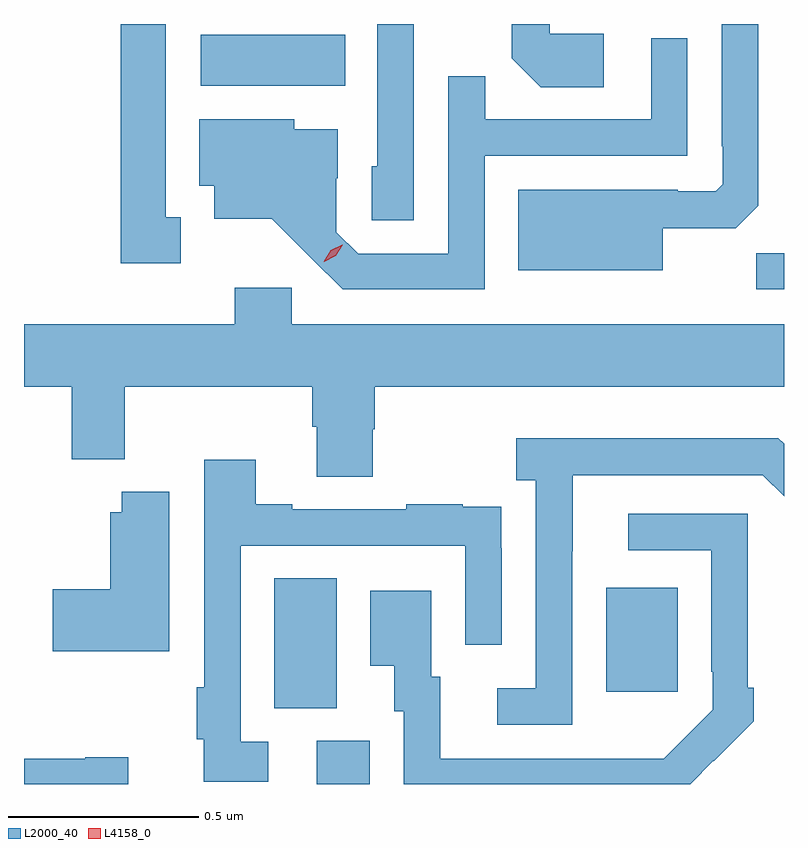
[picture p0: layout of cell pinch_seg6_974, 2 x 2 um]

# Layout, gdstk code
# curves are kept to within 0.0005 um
import gdstk
lib = gdstk.Library(unit=1e-6, precision=1e-09)
def R(c, l, rs):  # rectangles x0, y0, x1, y1
    for r in rs: c.add(gdstk.rectangle(r[:2], r[2:], *l))
def P(c, l, *ps):  # polygons
    for p in ps: c.add(gdstk.Polygon(p, *l))
L2000_40 = (2000, 40)
L4158_0 = (4158, 0)

pinch_seg6_974 = lib.new_cell('pinch_seg6_974')
R(pinch_seg6_974, L2000_40, [(355.019,931.638,355.159,931.752), (354.908,931.837,355.072,932.18), (355.781,931.881,355.969,932.155), (356.176,932.94,356.249,933.035), (354.714,933.476,355.094,933.61)])
P(pinch_seg6_974, L2000_40, [(355.275,933.638),(355.179,933.638),(355.179,933.264),(355.164,933.264),(355.164,933.121),(355.275,933.121)],
  [(355.93,933.101),(356.122,933.101),(356.181,933.16),(356.181,933.638),(356.085,933.638),(356.085,933.316),(356.088,933.316),(356.088,933.216),(356.07,933.198),(355.97,933.198),(355.97,933.202),(355.55,933.202),(355.55,932.99),(355.93,932.99)],
  [(354.661,933.129),(354.622,933.129),(354.622,933.638),(354.504,933.638),(354.504,933.009),(354.661,933.009)],
  [(355.774,933.612),(355.632,933.612),(355.632,933.638),(355.533,933.638),(355.533,933.548),(355.609,933.472),(355.774,933.472)],
  [(355.461,933.291),(355.995,933.291),(355.995,933.601),(355.899,933.601),(355.899,933.387),(355.463,933.387),(355.463,933.5),(355.365,933.5),(355.365,933.033),(355.128,933.033),(355.071,933.09),(355.071,933.232),(355.075,933.232),(355.075,933.361),(354.96,933.361),(354.96,933.388),(354.71,933.388),(354.71,933.212),(354.749,933.212),(354.749,933.125),(354.901,933.125),(355.088,932.94),(355.461,932.94)],
  [(354.249,932.684),(354.374,932.684),(354.374,932.492),(354.514,932.492),(354.514,932.684),(355.007,932.684),(355.007,932.578),(355.019,932.578),(355.019,932.446),(355.167,932.446),(355.167,932.571),(355.172,932.571),(355.172,932.684),(356.249,932.684),(356.249,932.848),(354.954,932.848),(354.954,932.944),(354.803,932.944),(354.803,932.848),(354.249,932.848)],
  [(355.692,932.251),(355.693,932.251),(355.693,932.451),(356.193,932.451),(356.249,932.395),(356.249,932.533),(356.234,932.548),(355.545,932.548),(355.545,932.438),(355.596,932.438),(355.596,931.89),(355.494,931.89),(355.494,931.794),(355.692,931.794)],
  [(354.892,931.749),(354.819,931.749),(354.819,932.265),(355.41,932.265),(355.41,932.004),(355.506,932.004),(355.506,932.258),(355.505,932.258),(355.505,932.367),(355.403,932.367),(355.403,932.374),(355.255,932.374),(355.255,932.361),(354.955,932.361),(354.955,932.374),(354.859,932.374),(354.859,932.491),(354.723,932.491),(354.723,931.892),(354.703,931.892),(354.703,931.756),(354.722,931.756),(354.722,931.644),(354.892,931.644)],
  [(354.631,932.407),(354.506,932.407),(354.506,932.353),(354.476,932.353),(354.476,932.151),(354.324,932.151),(354.324,931.988),(354.631,931.988)],
  [(356.063,931.699),(356.064,931.698),(356.169,931.803),(356.169,931.891),(356.154,931.891),(356.154,932.349),(355.839,932.349),(355.839,932.253),(356.058,932.253),(356.058,931.933),(356.061,931.933),(356.061,931.833),(355.933,931.705),(355.829,931.705),(355.829,931.704),(355.345,931.704),(355.345,931.92),(355.321,931.92),(355.321,932.146),(355.16,932.146),(355.16,931.949),(355.223,931.949),(355.223,931.83),(355.248,931.83),(355.248,931.638),(356.002,931.638)],
  [(354.523,931.709),(354.41,931.709),(354.41,931.704),(354.249,931.704),(354.249,931.638),(354.523,931.638)])
P(pinch_seg6_974, L4158_0, [(355.038,933.013),(355.038,933.013),(355.056,933.043),(355.087,933.057),(355.088,933.057),(355.088,933.057),(355.07,933.028),(355.039,933.013)])

lib.write_gds('pinch_seg6_974.gds')
